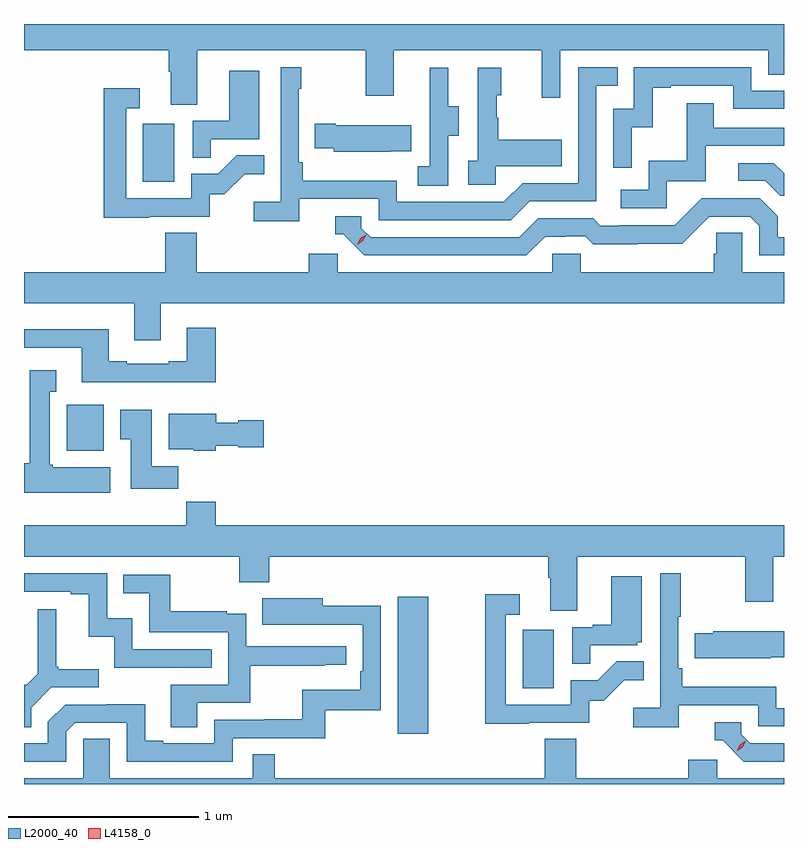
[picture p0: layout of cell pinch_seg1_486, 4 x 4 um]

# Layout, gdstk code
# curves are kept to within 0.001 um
import gdstk
lib = gdstk.Library(unit=1e-6, precision=1e-09)
def R(c, l, rs):  # rectangles x0, y0, x1, y1
    for r in rs: c.add(gdstk.rectangle(r[:2], r[2:], *l))
def P(c, l, *ps):  # polygons
    for p in ps: c.add(gdstk.Polygon(p, *l))
L2000_40 = (2000, 40)
L4158_0 = (4158, 0)

pinch_seg1_486 = lib.new_cell('pinch_seg1_486')
R(pinch_seg1_486, L2000_40, [(1107.497,525.492,1107.658,526.213), (1108.154,525.732,1108.318,526.039), (1105.754,526.982,1105.951,527.224), (1106.156,528.396,1106.32,528.703)])
P(pinch_seg1_486, L2000_40, [(1106.443,529.088),(1107.328,529.088),(1107.328,528.849),(1107.475,528.849),(1107.475,529.088),(1108.256,529.088),(1108.256,528.84),(1108.353,528.84),(1108.353,529.088),(1109.448,529.088),(1109.448,528.961),(1109.53,528.961),(1109.53,529.227),(1105.53,529.227),(1105.53,529.088),(1106.291,529.088),(1106.291,528.976),(1106.303,528.976),(1106.303,528.802),(1106.443,528.802)],
  [(1106.978,528.306),(1107.396,528.306),(1107.396,528.195),(1108.093,528.195),(1108.192,528.294),(1108.542,528.294),(1108.542,528.903),(1108.655,528.903),(1108.655,528.999),(1108.446,528.999),(1108.446,528.39),(1108.155,528.39),(1108.056,528.291),(1107.492,528.291),(1107.492,528.403),(1106.996,528.403),(1106.996,528.499),(1106.976,528.499),(1106.976,528.887),(1106.989,528.887),(1106.989,529),(1106.88,529),(1106.88,528.292),(1106.739,528.292),(1106.739,528.19),(1106.978,528.19)],
  [(1108.728,528.683),(1108.838,528.683),(1108.838,528.891),(1108.933,528.891),(1108.933,528.903),(1109.262,528.903),(1109.262,528.78),(1109.53,528.78),(1109.53,528.876),(1109.358,528.876),(1109.358,528.999),(1108.74,528.999),(1108.74,528.78),(1108.632,528.78),(1108.632,528.471),(1108.728,528.471)],
  [(1108.014,528.479),(1108.361,528.479),(1108.361,528.619),(1108.027,528.619),(1108.027,528.734),(1108.017,528.734),(1108.017,528.852),(1108.042,528.852),(1108.042,528.997),(1107.918,528.997),(1107.918,528.506),(1107.867,528.506),(1107.867,528.381),(1108.014,528.381)],
  [(1107.762,528.64),(1107.817,528.64),(1107.817,528.795),(1107.763,528.795),(1107.763,528.997),(1107.665,528.997),(1107.665,528.783),(1107.666,528.783),(1107.666,528.479),(1107.603,528.479),(1107.603,528.376),(1107.762,528.376)],
  [(1106.513,528.621),(1106.767,528.621),(1106.767,528.982),(1106.609,528.982),(1106.609,528.717),(1106.418,528.717),(1106.418,528.523),(1106.513,528.523)],
  [(1106.189,528.213),(1106.508,528.213),(1106.508,528.33),(1106.584,528.33),(1106.691,528.437),(1106.795,528.437),(1106.795,528.536),(1106.651,528.536),(1106.553,528.438),(1106.409,528.438),(1106.409,528.309),(1106.067,528.309),(1106.067,528.783),(1106.14,528.783),(1106.14,528.889),(1105.951,528.889),(1105.951,528.208),(1106.189,528.208)],
  [(1108.914,528.399),(1109.119,528.399),(1109.119,528.585),(1109.53,528.585),(1109.53,528.681),(1109.161,528.681),(1109.161,528.811),(1109.017,528.811),(1109.017,528.508),(1108.818,528.508),(1108.818,528.354),(1108.671,528.354),(1108.671,528.258),(1108.914,528.258)],
  [(1107.461,528.557),(1107.569,528.557),(1107.569,528.694),(1107.172,528.694),(1107.172,528.702),(1107.061,528.702),(1107.061,528.572),(1107.159,528.572),(1107.159,528.554),(1107.461,528.554)],
  [(1109.53,528.441),(1109.476,528.495),(1109.289,528.495),(1109.289,528.402),(1109.43,528.402),(1109.51,528.322),(1109.53,528.322)],
  [(1108.273,528.108),(1108.38,528.108),(1108.38,528.111),(1108.483,528.111),(1108.525,528.069),(1108.758,528.069),(1108.758,528.071),(1108.994,528.071),(1109.136,528.213),(1109.352,528.213),(1109.4,528.165),(1109.4,528.009),(1109.53,528.009),(1109.53,528.105),(1109.497,528.105),(1109.497,528.215),(1109.403,528.309),(1109.097,528.309),(1108.956,528.168),(1108.663,528.168),(1108.663,528.165),(1108.564,528.165),(1108.525,528.204),(1108.236,528.204),(1108.137,528.105),(1107.354,528.105),(1107.306,528.153),(1107.306,528.216),(1107.167,528.216),(1107.167,528.12),(1107.21,528.12),(1107.321,528.009),(1108.174,528.009)],
  [(1106.251,527.756),(1109.53,527.756),(1109.53,527.92),(1109.31,527.92),(1109.31,528.128),(1109.173,528.128),(1109.173,528.018),(1109.159,528.018),(1109.159,527.92),(1108.461,527.92),(1108.461,528.018),(1108.311,528.018),(1108.311,527.92),(1107.18,527.92),(1107.18,528.018),(1107.029,528.018),(1107.029,527.92),(1106.438,527.92),(1106.438,528.128),(1106.273,528.128),(1106.273,527.92),(1105.53,527.92),(1105.53,527.756),(1106.111,527.756),(1106.111,527.562),(1106.251,527.562)],
  [(1106.54,527.629),(1106.387,527.629),(1106.387,527.452),(1106.291,527.452),(1106.291,527.439),(1106.071,527.439),(1106.071,527.452),(1105.975,527.452),(1105.975,527.62),(1105.53,527.62),(1105.53,527.523),(1105.835,527.523),(1105.835,527.342),(1106.54,527.342)],
  [(1105.984,526.894),(1105.68,526.894),(1105.68,526.908),(1105.666,526.908),(1105.666,527.291),(1105.699,527.291),(1105.699,527.404),(1105.559,527.404),(1105.559,526.914),(1105.53,526.914),(1105.53,526.76),(1105.984,526.76)],
  [(1106.342,526.9),(1106.203,526.9),(1106.203,527.197),(1106.036,527.197),(1106.036,527.041),(1106.093,527.041),(1106.093,526.782),(1106.342,526.782)],
  [(1106.538,527.006),(1106.658,527.006),(1106.658,526.999),(1106.791,526.999),(1106.791,527.141),(1106.658,527.141),(1106.658,527.128),(1106.542,527.128),(1106.542,527.176),(1106.291,527.176),(1106.291,526.988),(1106.424,526.988),(1106.424,526.982),(1106.538,526.982)],
  [(1106.54,526.712),(1106.383,526.712),(1106.383,526.588),(1105.53,526.588),(1105.53,526.424),(1106.662,526.424),(1106.662,526.289),(1106.822,526.289),(1106.822,526.424),(1108.289,526.424),(1108.289,526.312),(1108.301,526.312),(1108.301,526.138),(1108.441,526.138),(1108.441,526.424),(1109.326,526.424),(1109.326,526.185),(1109.473,526.185),(1109.473,526.424),(1109.53,526.424),(1109.53,526.588),(1106.54,526.588)],
  [(1108.976,525.642),(1109.394,525.642),(1109.394,525.531),(1109.53,525.531),(1109.53,525.627),(1109.49,525.627),(1109.49,525.739),(1108.994,525.739),(1108.994,525.835),(1108.974,525.835),(1108.974,526.108),(1108.987,526.108),(1108.987,526.336),(1108.878,526.336),(1108.878,525.628),(1108.737,525.628),(1108.737,525.526),(1108.976,525.526)],
  [(1106.519,525.936),(1106.1,525.936),(1106.1,526.099),(1105.968,526.099),(1105.968,526.335),(1105.53,526.335),(1105.53,526.239),(1105.775,526.239),(1105.775,526.227),(1105.871,526.227),(1105.871,526.001),(1106.004,526.001),(1106.004,525.84),(1106.519,525.84)],
  [(1106.443,525.654),(1106.72,525.654),(1106.72,525.85),(1107.113,525.85),(1107.113,525.855),(1107.226,525.855),(1107.226,525.951),(1106.7,525.951),(1106.7,526.123),(1106.597,526.123),(1106.597,526.135),(1106.299,526.135),(1106.299,526.329),(1106.053,526.329),(1106.053,526.232),(1106.188,526.232),(1106.188,526.026),(1106.604,526.026),(1106.604,525.75),(1106.303,525.75),(1106.303,525.526),(1106.443,525.526)],
  [(1108.511,525.957),(1108.758,525.957),(1108.758,525.972),(1108.78,525.972),(1108.78,526.321),(1108.622,526.321),(1108.622,526.066),(1108.523,526.066),(1108.523,526.053),(1108.416,526.053),(1108.416,525.859),(1108.511,525.859)],
  [(1108.187,525.549),(1108.506,525.549),(1108.506,525.666),(1108.582,525.666),(1108.689,525.773),(1108.793,525.773),(1108.793,525.872),(1108.649,525.872),(1108.551,525.774),(1108.407,525.774),(1108.407,525.645),(1108.065,525.645),(1108.065,526.119),(1108.138,526.119),(1108.138,526.225),(1107.957,526.225),(1107.957,525.544),(1108.187,525.544)],
  [(1105.752,525.501),(1105.8,525.549),(1106.07,525.549),(1106.07,525.345),(1106.628,525.345),(1106.628,525.468),(1107.115,525.468),(1107.115,525.615),(1107.408,525.615),(1107.408,526.166),(1107.103,526.166),(1107.103,526.204),(1106.785,526.204),(1106.785,526.064),(1107.312,526.065),(1107.312,525.82),(1107.299,525.82),(1107.299,525.724),(1106.994,525.724),(1106.994,525.569),(1106.797,525.569),(1106.797,525.564),(1106.532,525.564),(1106.532,525.441),(1106.263,525.441),(1106.263,525.454),(1106.167,525.454),(1106.167,525.647),(1105.962,525.647),(1105.962,525.645),(1105.746,525.645),(1105.656,525.555),(1105.656,525.441),(1105.53,525.441),(1105.53,525.345),(1105.752,525.345)],
  [(1105.567,525.628),(1105.674,525.735),(1105.924,525.735),(1105.924,525.832),(1105.711,525.832),(1105.711,525.844),(1105.699,525.844),(1105.699,526.147),(1105.602,526.147),(1105.602,525.807),(1105.545,525.75),(1105.53,525.75),(1105.53,525.526),(1105.567,525.526)],
  [(1109.459,525.893),(1109.53,525.893),(1109.53,526.03),(1109.157,526.03),(1109.157,526.02),(1109.059,526.02),(1109.059,525.89),(1109.459,525.89)],
  [(1109.53,525.441),(1109.352,525.441),(1109.304,525.489),(1109.304,525.552),(1109.165,525.552),(1109.165,525.456),(1109.208,525.456),(1109.319,525.345),(1109.53,525.345)],
  [(1109.53,525.256),(1109.178,525.256),(1109.178,525.354),(1109.027,525.354),(1109.027,525.256),(1108.436,525.256),(1108.436,525.464),(1108.271,525.464),(1108.271,525.256),(1106.849,525.256),(1106.849,525.383),(1106.733,525.383),(1106.733,525.256),(1105.981,525.256),(1105.981,525.464),(1105.842,525.464),(1105.842,525.256),(1105.53,525.256),(1105.53,525.227),(1109.53,525.227)])
P(pinch_seg1_486, L4158_0, [(1109.283,525.401),(1109.283,525.402),(1109.298,525.434),(1109.328,525.454),(1109.329,525.454),(1109.329,525.454),(1109.313,525.421),(1109.283,525.401)],
  [(1107.284,528.066),(1107.284,528.066),(1107.299,528.099),(1107.33,528.119),(1107.33,528.119),(1107.33,528.119),(1107.314,528.086),(1107.284,528.066)])

lib.write_gds('pinch_seg1_486.gds')
